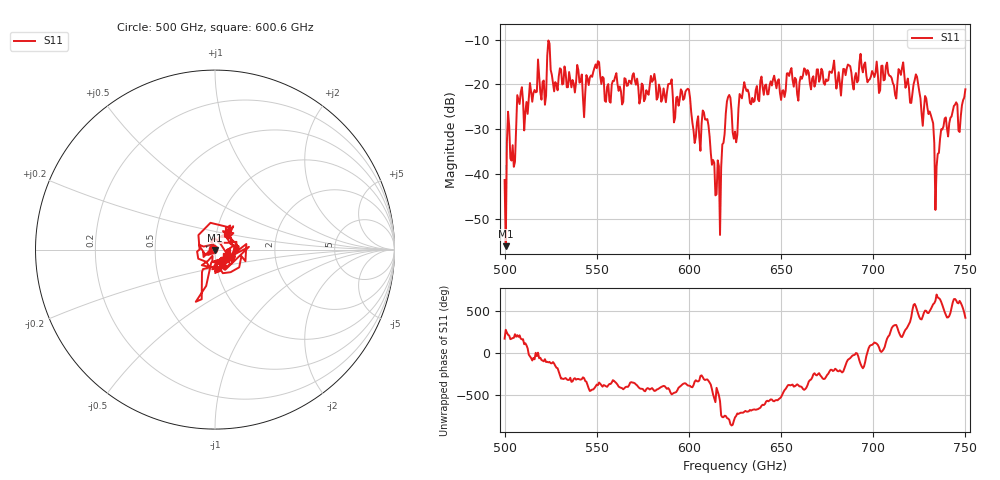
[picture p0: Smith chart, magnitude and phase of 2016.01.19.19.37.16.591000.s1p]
!Created with skrf (http://scikit-rf.org).
# GHz S RI R 50.0
!freq ReS11 ImS11
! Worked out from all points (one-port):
!   401 points, 500 GHz to 750 GHz, reference 50 ohm
!   lowest |S11| = -56.1 dB at 500.6 GHz (marker M1), VSWR 1.00, Z = 50 - j0.155 ohm
!   |S11| at or under -10 dB: start of sweep to end of sweep
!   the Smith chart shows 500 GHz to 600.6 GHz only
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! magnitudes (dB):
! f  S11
! 500 GHz  -41.4
! 500.6 GHz  -56.1
! 502.5 GHz  -29.4
! 505 GHz  -38.4
! 508.1 GHz  -24.4
! 521.2 GHz  -19.1
! 524.4 GHz  -10.9
! 527.5 GHz  -19.5
! 531.2 GHz  -20.0
! 543.8 GHz  -21.9
! 550 GHz  -16.4
! 562.5 GHz  -20.5
! 580.6 GHz  -19.0
! 593.8 GHz  -22.8
! 599.4 GHz  -21.0
! 605 GHz  -27.1
! 608.8 GHz  -27.8
! 615.6 GHz  -37.0
! 621.2 GHz  -22.8
! 625 GHz  -30.5
! 630.6 GHz  -20.6
! 656.2 GHz  -19.0
! 687.5 GHz  -15.9
! 718.8 GHz  -18.7
! 729.4 GHz  -25.2
! 734.4 GHz  -38.3
! 738.1 GHz  -29.4
! 750 GHz  -21.1
